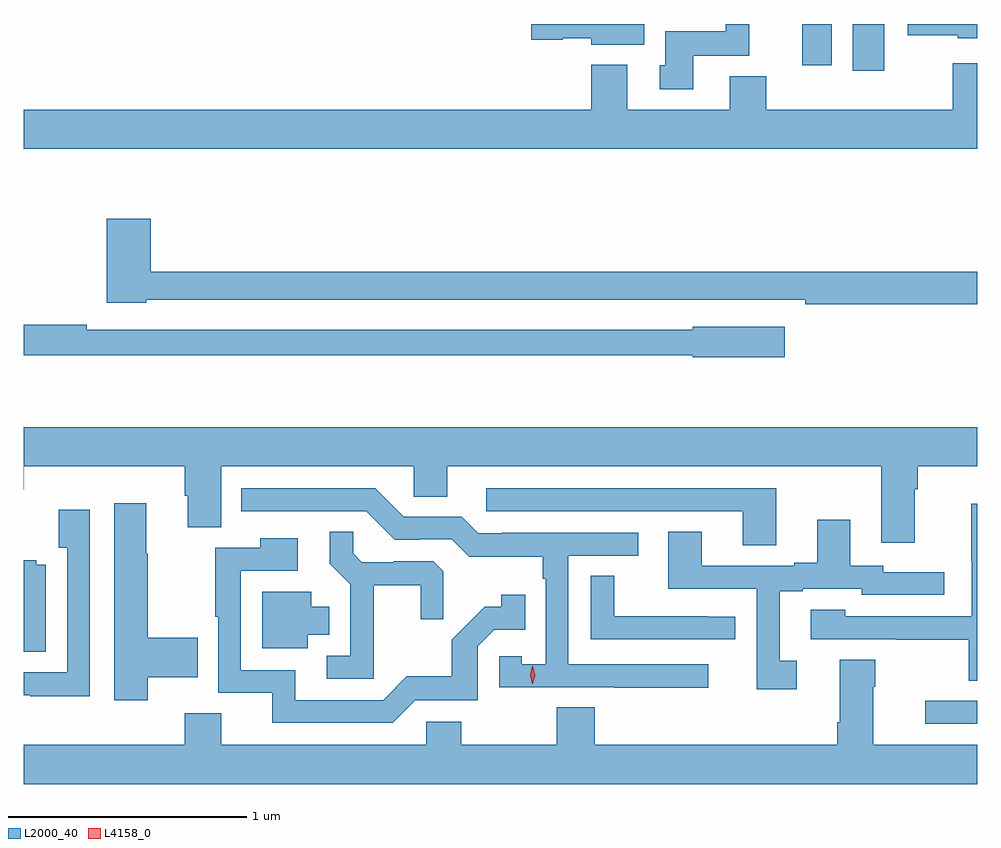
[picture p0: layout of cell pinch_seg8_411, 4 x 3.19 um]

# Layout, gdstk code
import gdstk
lib = gdstk.Library(unit=1e-6, precision=1e-09)
def R(c, l, rs):  # rectangles x0, y0, x1, y1
    for r in rs: c.add(gdstk.rectangle(r[:2], r[2:], *l))
def P(c, l, *ps):  # polygons
    for p in ps: c.add(gdstk.Polygon(p, *l))
L2000_40 = (2000, 40)
L4158_0 = (4158, 0)

pinch_seg8_411 = lib.new_cell('pinch_seg8_411')
R(pinch_seg8_411, L2000_40, [(363.681,1160.709,363.899,1160.805), (363.377,1163.448,363.508,1163.644), (363.164,1163.472,363.289,1163.644)])
P(pinch_seg8_411, L2000_40, [(362.707,1163.51),(362.943,1163.51),(362.943,1163.644),(362.844,1163.644),(362.844,1163.614),(362.591,1163.614),(362.591,1163.472),(362.567,1163.472),(362.567,1163.37),(362.707,1163.37)],
  [(363.899,1163.644),(363.608,1163.644),(363.608,1163.597),(363.816,1163.597),(363.816,1163.585),(363.899,1163.585)],
  [(362.503,1163.644),(362.028,1163.644),(362.028,1163.578),(362.16,1163.578),(362.16,1163.585),(362.28,1163.585),(362.28,1163.558),(362.503,1163.558)],
  [(363.899,1163.479),(363.797,1163.479),(363.797,1163.284),(363.014,1163.284),(363.014,1163.425),(362.861,1163.425),(362.861,1163.284),(362.431,1163.284),(362.431,1163.473),(362.279,1163.473),(362.279,1163.284),(359.899,1163.284),(359.899,1163.12),(363.899,1163.12)],
  [(363.899,1162.604),(360.431,1162.604),(360.431,1162.828),(360.248,1162.828),(360.248,1162.475),(360.414,1162.475),(360.414,1162.488),(363.178,1162.488),(363.178,1162.468),(363.899,1162.468)],
  [(363.091,1162.375),(362.706,1162.375),(362.706,1162.362),(360.164,1162.362),(360.164,1162.382),(359.899,1162.382),(359.899,1162.254),(362.706,1162.254),(362.706,1162.246),(363.091,1162.246)],
  [(363.637,1161.692),(363.65,1161.692),(363.65,1161.788),(363.899,1161.788),(363.899,1161.952),(359.899,1161.952),(359.899,1161.692),(359.9,1161.692),(359.9,1161.788),(360.575,1161.788),(360.575,1161.666),(360.587,1161.666),(360.587,1161.532),(360.727,1161.532),(360.727,1161.788),(361.536,1161.788),(361.536,1161.661),(361.675,1161.661),(361.675,1161.788),(363.497,1161.788),(363.497,1161.468),(363.637,1161.468)],
  [(363.055,1161.696),(361.839,1161.696),(361.839,1161.6),(362.915,1161.6),(362.915,1161.457),(363.055,1161.457)],
  [(362.77,1160.958),(362.184,1160.958),(362.184,1161.414),(362.476,1161.414),(362.476,1161.51),(361.906,1161.51),(361.906,1161.507),(361.806,1161.507),(361.737,1161.576),(361.494,1161.576),(361.374,1161.696),(360.812,1161.696),(360.812,1161.6),(361.335,1161.6),(361.455,1161.48),(361.556,1161.48),(361.556,1161.483),(361.695,1161.483),(361.768,1161.41),(362.076,1161.41),(362.076,1161.317),(362.088,1161.317),(362.088,1160.959),(361.989,1160.959),(361.989,1160.991),(361.893,1160.991),(361.893,1160.862),(362.377,1160.862),(362.377,1160.86),(362.77,1160.86)],
  [(360.42,1160.903),(360.629,1160.903),(360.629,1161.069),(360.42,1161.069),(360.42,1161.421),(360.412,1161.421),(360.412,1161.634),(360.278,1161.634),(360.278,1160.808),(360.42,1160.808)],
  [(363.899,1161.631),(363.874,1161.631),(363.874,1161.392),(363.876,1161.392),(363.876,1161.159),(363.345,1161.159),(363.345,1161.187),(363.201,1161.187),(363.201,1161.063),(363.559,1161.063),(363.559,1161.061),(363.864,1161.061),(363.864,1160.89),(363.899,1160.89)],
  [(360.177,1161.607),(360.047,1161.607),(360.047,1161.446),(360.081,1161.446),(360.081,1160.925),(359.899,1160.925),(359.899,1160.829),(359.927,1160.829),(359.927,1160.825),(360.177,1160.825)],
  [(363.142,1160.973),(363.07,1160.973),(363.07,1161.264),(363.166,1161.264),(363.166,1161.276),(363.414,1161.276),(363.414,1161.249),(363.76,1161.249),(363.76,1161.345),(363.504,1161.345),(363.504,1161.372),(363.367,1161.372),(363.367,1161.565),(363.227,1161.565),(363.227,1161.385),(363.131,1161.385),(363.131,1161.372),(362.743,1161.372),(362.743,1161.515),(362.603,1161.515),(362.603,1161.276),(362.973,1161.276),(362.973,1160.853),(363.142,1160.853)],
  [(361.367,1161.29),(361.564,1161.29),(361.564,1161.147),(361.658,1161.147),(361.658,1161.349),(361.617,1161.39),(361.452,1161.39),(361.452,1161.387),(361.318,1161.387),(361.281,1161.424),(361.281,1161.515),(361.183,1161.515),(361.183,1161.379),(361.269,1161.293),(361.269,1160.994),(361.17,1160.994),(361.17,1160.898),(361.367,1160.898)],
  [(361.542,1160.808),(361.803,1160.808),(361.803,1161.033),(361.872,1161.102),(362.003,1161.102),(362.003,1161.25),(361.902,1161.25),(361.902,1161.2),(361.832,1161.2),(361.695,1161.062),(361.695,1160.907),(361.506,1160.907),(361.407,1160.808),(361.039,1160.808),(361.039,1160.934),(360.81,1160.934),(360.81,1161.351),(361.048,1161.351),(361.048,1161.487),(360.892,1161.487),(360.892,1161.447),(360.702,1161.447),(360.702,1161.157),(360.714,1161.157),(360.714,1160.838),(360.941,1160.838),(360.941,1160.712),(361.446,1160.712)],
  [(359.992,1161.376),(359.952,1161.376),(359.952,1161.394),(359.899,1161.394),(359.899,1161.01),(359.992,1161.01)],
  [(362.884,1161.158),(362.771,1161.158),(362.771,1161.159),(362.376,1161.159),(362.376,1161.329),(362.277,1161.329),(362.277,1161.063),(362.884,1161.063)],
  [(361.09,1161.083),(361.18,1161.083),(361.18,1161.199),(361.105,1161.199),(361.105,1161.262),(360.899,1161.262),(360.899,1161.026),(361.09,1161.026)],
  [(363.899,1160.62),(363.463,1160.62),(363.463,1160.864),(363.471,1160.864),(363.471,1160.977),(363.323,1160.977),(363.323,1160.716),(363.311,1160.716),(363.311,1160.62),(362.294,1160.62),(362.294,1160.777),(362.134,1160.777),(362.134,1160.62),(361.734,1160.62),(361.734,1160.718),(361.587,1160.718),(361.587,1160.62),(360.727,1160.62),(360.727,1160.753),(360.575,1160.753),(360.575,1160.62),(359.899,1160.62),(359.899,1160.456),(363.899,1160.456)])
P(pinch_seg8_411, L4158_0, [(362.033,1160.877),(362.024,1160.913),(362.033,1160.949),(362.034,1160.949),(362.034,1160.949),(362.044,1160.913),(362.034,1160.877),(362.034,1160.877)])

lib.write_gds('pinch_seg8_411.gds')
